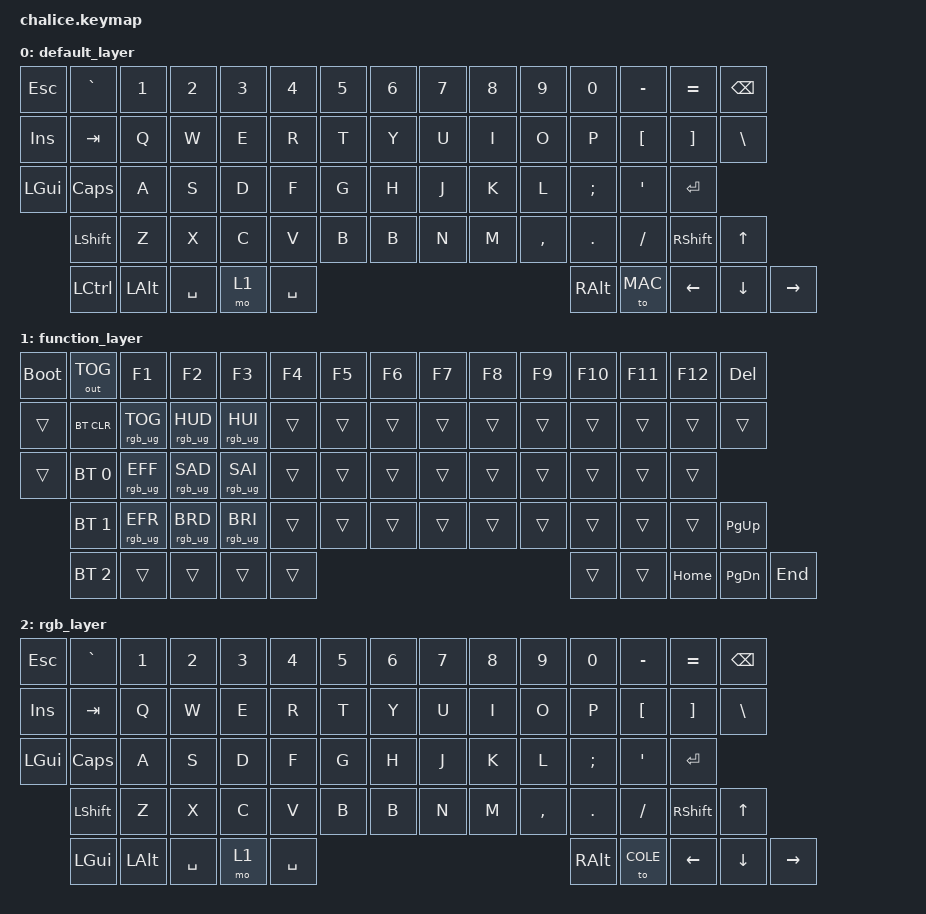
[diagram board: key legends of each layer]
/*
 * Copyright (c) 2020 The ZMK Contributor
 *
 * SPDX-License-Identifier: MIT
 */

#include <behaviors.dtsi>
#include <dt-bindings/zmk/keys.h>
#include <dt-bindings/zmk/bt.h>
#include <dt-bindings/zmk/rgb.h>
#include <dt-bindings/zmk/outputs.h>

#define COLE 0
#define FUNC 1
#define MAC  2

/ {
        keymap {
                compatible = "zmk,keymap";

                default_layer {

                        bindings = <
   &kp ESC         &kp GRAVE   &kp N1       &kp N2       &kp N3       &kp N4       &kp N5       &kp N6       &kp N7       &kp N8       &kp N9       &kp N0       &kp MINUS    &kp EQUAL    &kp BSPC
   &kp INSERT      &kp TAB     &kp Q        &kp W        &kp E        &kp R        &kp T        &kp Y        &kp U        &kp I        &kp O        &kp P        &kp LBKT     &kp RBKT     &kp BSLH
   &kp LEFT_GUI    &kp CAPS    &kp A        &kp S        &kp D        &kp F        &kp G        &kp H        &kp J        &kp K        &kp L        &kp SEMI     &kp SQT      &kp ENTER                    
                   &kp LSHFT   &kp Z        &kp X        &kp C        &kp V        &kp B        &kp B        &kp N        &kp M        &kp COMMA    &kp DOT      &kp SLASH    &kp RSHFT    &kp UP
                   &kp LCTRL                &kp LALT                  &kp SPACE    &mo 1                     &kp SPACE                 &kp RALT                  &to MAC      &kp LEFT     &kp DOWN     &kp RIGHT 
                                >;
                        };

                function_layer {

                        bindings = <
   &bootloader     &out OUT_TOG &kp F1           &kp F2          &kp F3          &kp F4       &kp F5       &kp F6       &kp F7       &kp F8       &kp F9       &kp F10      &kp F11      &kp F12      &kp DEL
   &trans          &bt BT_CLR   &rgb_ug RGB_TOG  &rgb_ug RGB_HUD &rgb_ug RGB_HUI &trans       &trans       &trans       &trans       &trans       &trans       &trans       &trans       &trans       &trans
   &trans          &bt BT_SEL 0 &rgb_ug RGB_EFF  &rgb_ug RGB_SAD &rgb_ug RGB_SAI &trans       &trans       &trans       &trans       &trans       &trans       &trans       &trans       &trans 
                   &bt BT_SEL 1 &rgb_ug RGB_EFR  &rgb_ug RGB_BRD &rgb_ug RGB_BRI &trans       &trans       &trans       &trans       &trans       &trans       &trans       &trans       &trans       &kp PG_UP
                   &bt BT_SEL 2                  &trans                          &trans       &trans                    &trans                    &trans                    &trans       &kp HOME     &kp PG_DN    &kp END 
                                >;
                        };
                        
                 rgb_layer {

                        bindings = <
   &kp ESC         &kp GRAVE   &kp N1       &kp N2       &kp N3       &kp N4       &kp N5       &kp N6       &kp N7       &kp N8       &kp N9       &kp N0       &kp MINUS    &kp EQUAL    &kp BSPC
   &kp INSERT      &kp TAB     &kp Q        &kp W        &kp E        &kp R        &kp T        &kp Y        &kp U        &kp I        &kp O        &kp P        &kp LBKT     &kp RBKT     &kp BSLH
   &kp LEFT_GUI    &kp CAPS    &kp A        &kp S        &kp D        &kp F        &kp G        &kp H        &kp J        &kp K        &kp L        &kp SEMI     &kp SQT      &kp ENTER                    
                   &kp LSHFT   &kp Z        &kp X        &kp C        &kp V        &kp B        &kp B        &kp N        &kp M        &kp COMMA    &kp DOT      &kp SLASH    &kp RSHFT    &kp UP
                   &kp LEFT_GUI             &kp LALT                  &kp SPACE    &mo 1                     &kp SPACE                 &kp RALT                  &to COLE     &kp LEFT     &kp DOWN     &kp RIGHT 
                                >;
                        };
        };
};
